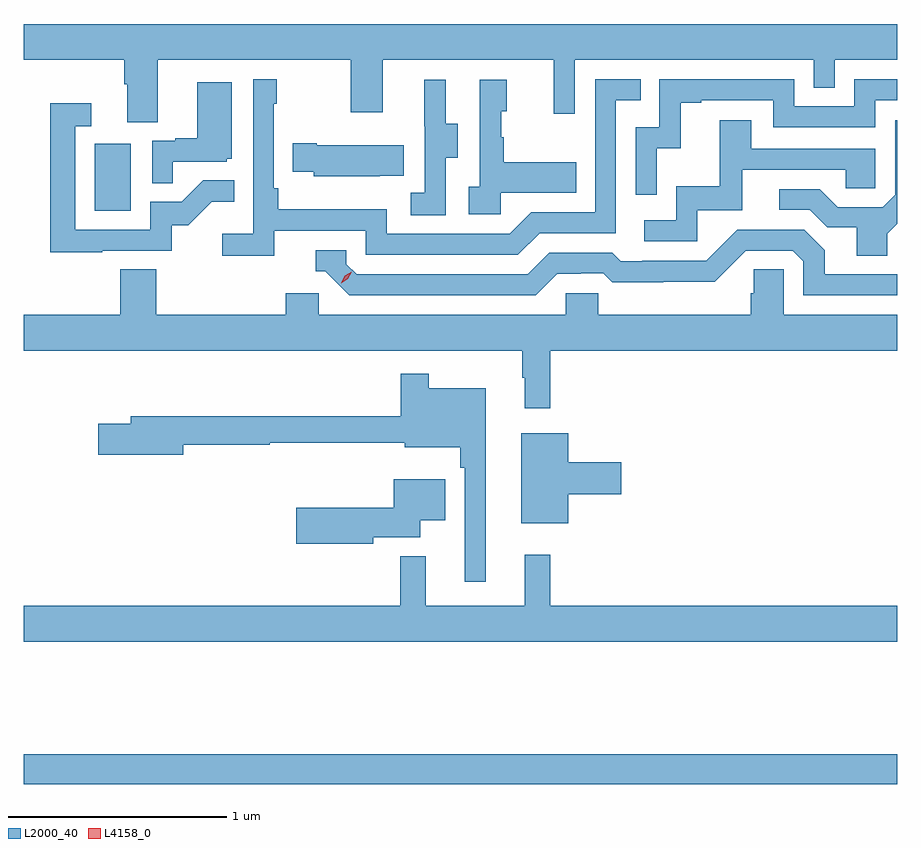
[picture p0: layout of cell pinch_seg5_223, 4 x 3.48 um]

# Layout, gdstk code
import gdstk
lib = gdstk.Library(unit=1e-6, precision=1e-09)
def R(c, l, rs):  # rectangles x0, y0, x1, y1
    for r in rs: c.add(gdstk.rectangle(r[:2], r[2:], *l))
def P(c, l, *ps):  # polygons
    for p in ps: c.add(gdstk.Polygon(p, *l))
L2000_40 = (2000, 40)
L4158_0 = (4158, 0)

pinch_seg5_223 = lib.new_cell('pinch_seg5_223')
R(pinch_seg5_223, L2000_40, [(963.972,906.724,967.972,906.86), (964.298,909.348,964.462,909.655)])
P(pinch_seg5_223, L2000_40, [(964.585,910.04),(965.47,910.04),(965.47,909.801),(965.617,909.801),(965.617,910.04),(966.398,910.04),(966.398,909.792),(966.495,909.792),(966.495,910.04),(967.59,910.04),(967.59,909.913),(967.686,909.913),(967.686,910.04),(967.972,910.04),(967.972,910.204),(963.972,910.204),(963.972,910.04),(964.433,910.04),(964.433,909.928),(964.445,909.928),(964.445,909.754),(964.585,909.754)],
  [(965.12,909.258),(965.538,909.258),(965.538,909.147),(966.235,909.147),(966.334,909.246),(966.684,909.246),(966.684,909.855),(966.797,909.855),(966.797,909.951),(966.588,909.951),(966.588,909.342),(966.297,909.342),(966.198,909.243),(965.634,909.243),(965.634,909.355),(965.138,909.355),(965.138,909.451),(965.118,909.451),(965.118,909.839),(965.131,909.839),(965.131,909.952),(965.022,909.952),(965.022,909.244),(964.881,909.244),(964.881,909.142),(965.12,909.142)],
  [(966.87,909.635),(966.98,909.635),(966.98,909.843),(967.075,909.843),(967.075,909.855),(967.404,909.855),(967.404,909.732),(967.872,909.732),(967.872,909.855),(967.972,909.855),(967.972,909.951),(967.776,909.951),(967.776,909.828),(967.5,909.828),(967.5,909.951),(966.882,909.951),(966.882,909.732),(966.774,909.732),(966.774,909.423),(966.87,909.423)],
  [(965.904,909.592),(965.959,909.592),(965.959,909.747),(965.905,909.747),(965.905,909.949),(965.807,909.949),(965.807,909.735),(965.808,909.735),(965.808,909.431),(965.745,909.431),(965.745,909.328),(965.904,909.328)],
  [(966.156,909.431),(966.503,909.431),(966.503,909.571),(966.169,909.571),(966.169,909.686),(966.159,909.686),(966.159,909.804),(966.184,909.804),(966.184,909.949),(966.06,909.949),(966.06,909.458),(966.009,909.458),(966.009,909.333),(966.156,909.333)],
  [(964.655,909.573),(964.902,909.573),(964.902,909.588),(964.924,909.588),(964.924,909.937),(964.766,909.937),(964.766,909.682),(964.667,909.682),(964.667,909.669),(964.56,909.669),(964.56,909.475),(964.655,909.475)],
  [(964.331,909.165),(964.65,909.165),(964.65,909.282),(964.726,909.282),(964.833,909.389),(964.937,909.389),(964.937,909.488),(964.793,909.488),(964.695,909.39),(964.551,909.39),(964.551,909.261),(964.209,909.261),(964.209,909.735),(964.282,909.735),(964.282,909.841),(964.093,909.841),(964.093,909.16),(964.331,909.16)],
  [(967.927,909.244),(967.972,909.289),(967.972,909.763),(967.962,909.763),(967.962,909.423),(967.905,909.366),(967.699,909.366),(967.618,909.447),(967.431,909.447),(967.431,909.354),(967.572,909.354),(967.652,909.274),(967.787,909.274),(967.787,909.142),(967.927,909.142)],
  [(967.056,909.351),(967.261,909.351),(967.261,909.537),(967.735,909.537),(967.735,909.453),(967.872,909.453),(967.872,909.633),(967.303,909.633),(967.303,909.763),(967.159,909.763),(967.159,909.46),(966.96,909.46),(966.96,909.306),(966.813,909.306),(966.813,909.21),(967.056,909.21)],
  [(965.603,909.509),(965.711,909.509),(965.711,909.649),(965.314,909.649),(965.314,909.657),(965.203,909.657),(965.203,909.527),(965.301,909.527),(965.301,909.506),(965.603,909.506)],
  [(966.415,909.06),(966.522,909.06),(966.522,909.063),(966.625,909.063),(966.667,909.021),(966.9,909.021),(966.9,909.023),(967.136,909.023),(967.278,909.165),(967.494,909.165),(967.542,909.117),(967.542,908.961),(967.972,908.961),(967.972,909.057),(967.639,909.057),(967.639,909.167),(967.545,909.261),(967.239,909.261),(967.098,909.12),(966.805,909.12),(966.805,909.117),(966.706,909.117),(966.667,909.156),(966.378,909.156),(966.279,909.057),(965.496,909.057),(965.448,909.105),(965.448,909.168),(965.309,909.168),(965.309,909.072),(965.352,909.072),(965.463,908.961),(966.316,908.961)],
  [(966.383,908.708),(967.972,908.708),(967.972,908.872),(967.452,908.872),(967.452,909.08),(967.315,909.08),(967.315,908.97),(967.301,908.97),(967.301,908.872),(966.603,908.872),(966.603,908.97),(966.453,908.97),(966.453,908.872),(965.322,908.872),(965.322,908.97),(965.171,908.97),(965.171,908.872),(964.58,908.872),(964.58,909.08),(964.415,909.08),(964.415,908.872),(963.972,908.872),(963.972,908.708),(966.255,908.708),(966.255,908.585),(966.266,908.585),(966.266,908.445),(966.383,908.445)],
  [(966.088,908.536),(965.827,908.536),(965.827,908.602),(965.698,908.602),(965.698,908.407),(964.463,908.407),(964.463,908.373),(964.314,908.373),(964.314,908.231),(964.702,908.231),(964.702,908.278),(965.098,908.278),(965.098,908.286),(965.717,908.286),(965.717,908.267),(965.971,908.267),(965.971,908.171),(965.991,908.171),(965.991,907.65),(966.088,907.65)],
  [(966.466,908.051),(966.709,908.051),(966.709,908.198),(966.466,908.198),(966.466,908.329),(966.251,908.329),(966.251,907.919),(966.466,907.919)],
  [(965.572,907.853),(965.788,907.853),(965.788,907.931),(965.902,907.931),(965.902,908.119),(965.666,908.119),(965.666,907.989),(965.22,907.989),(965.22,907.823),(965.572,907.823)],
  [(967.972,907.54),(966.383,907.54),(966.383,907.774),(966.266,907.774),(966.266,907.54),(965.813,907.54),(965.813,907.768),(965.695,907.768),(965.695,907.54),(963.972,907.54),(963.972,907.376),(967.972,907.376)])
P(pinch_seg5_223, L4158_0, [(965.425,909.018),(965.425,909.019),(965.442,909.051),(965.473,909.07),(965.473,909.07),(965.473,909.07),(965.456,909.038),(965.425,909.018)])

lib.write_gds('pinch_seg5_223.gds')
